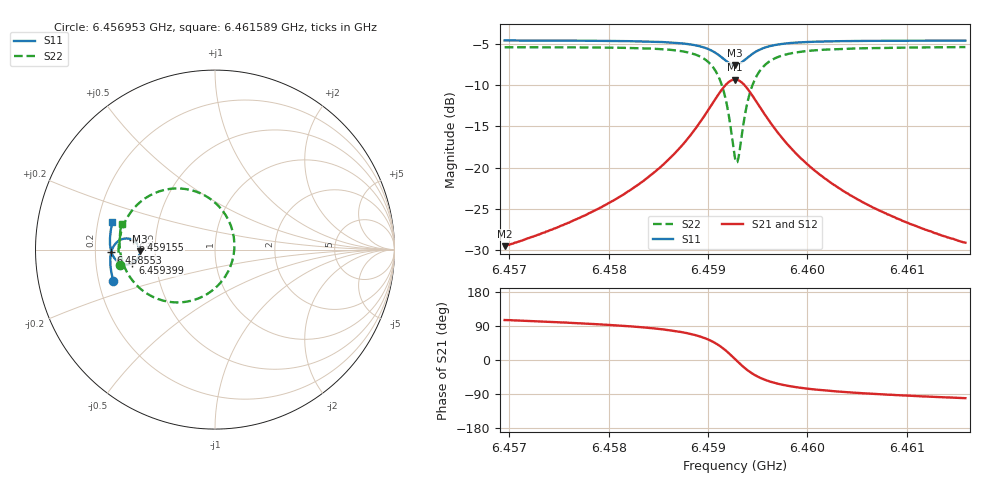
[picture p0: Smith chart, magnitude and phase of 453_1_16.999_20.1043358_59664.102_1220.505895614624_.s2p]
#  HZ  S  RI  R  50.00
! Rohde & Schwarz Vector Network Analyzer
! Rohde-Schwarz,ZNB20-2Port,1311601062101988,3.16
! Created: UTC 3/20/2024, 11:12:20 PM
! freq[Hz]  re:S11  im:S11  re:S21  im:S21  re:S12  im:S12  re:S22  im:S22
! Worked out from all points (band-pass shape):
!   401 points, 6.456953 GHz to 6.461589 GHz, reference 50 ohm
!   highest |S21| = -9.30 dB at 6.459271 GHz (marker M1); lowest = -29.5 dB at 6.456953 GHz (marker M2)
!   |S21| within 3 dB of the highest: 6.45904 GHz to 6.459503 GHz (463.6 kHz wide, 0.00718 % of centre)
!   lowest |S11| = -7.5 dB at 6.459271 GHz (marker M3), VSWR 2.45, Z = 20.4 - j0.519 ohm
!   |S11| at or under -10 dB: nowhere
!   |S22| runs from -19.4 to -5.4 dB; largest |S21 - S12| = 0.013
!   S11 on the Smith chart (normalised r, x): 6.456953 GHz: 0.26, -0.14; 6.458553 GHz: 0.27, -0.01; 6.459155 GHz: 0.37, +0.05; 6.459399 GHz: 0.37, -0.07; 6.461589 GHz: 0.26, +0.12
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6.4569532e9  -0.566 -0.174  -0.00887 0.0321  -0.00728 0.0321  -0.5313 -0.0869
6.4577297e9  -0.5806 -0.1062  -0.00568 0.05  -0.00313 0.0494  -0.5373 0.00342
6.4581469e9  -0.5835 -0.0647  -0.000117 0.0684  0.00304 0.0673  -0.5298 0.0686
6.4585062e9  -0.5799 -0.0221  0.0138 0.0978  0.0178 0.0952  -0.5044 0.1483
6.4585526e9  -0.5784 -0.0159  0.0172 0.1033  0.0212 0.1003  -0.4981 0.1614
6.4587612e9  -0.5663 0.016  0.0432 0.1348  0.0472 0.1301  -0.4496 0.2329
6.4589118e9  -0.5453 0.0422  0.0853 0.165  0.0888 0.1585  -0.3716 0.2968
6.4590625e9  -0.4995 0.0619  0.1766 0.184  0.1776 0.1766  -0.2048 0.3406
6.4591552e9  -0.4553 0.0518  0.2657 0.1532  0.2662 0.1473  -0.0394 0.2913
6.4592016e9  -0.4342 0.0333  0.3094 0.1108  0.3106 0.1055  0.043 0.2156
6.4592711e9  -0.4194 -0.0105  0.3424 0.0146  0.3461 0.00767  0.1078 0.0373
6.4592827e9  -0.4199 -0.0184  0.3425 -0.00302  0.3461 -0.0105  0.1076 0.00392
6.4593059e9  -0.4232 -0.034  0.3369 -0.0375  0.3407 -0.0465  0.0968 -0.0614
6.4593522e9  -0.4388 -0.0598  0.3087 -0.0969  0.3109 -0.1088  0.0398 -0.1738
6.4593986e9  -0.4606 -0.0758  0.2669 -0.1378  0.2662 -0.1509  -0.0445 -0.2482
6.4594913e9  -0.5037 -0.0826  0.1829 -0.1688  0.1768 -0.1803  -0.212 -0.2943
6.459642e9  -0.5471 -0.062  0.0956 -0.1552  0.0873 -0.1614  -0.3785 -0.2453
6.4598042e9  -0.5685 -0.0345  0.0511 -0.1277  0.0436 -0.1303  -0.4584 -0.1739
6.4600476e9  -0.5812 0.00103  0.0221 -0.0964  0.0164 -0.0969  -0.5062 -0.0918
6.4603721e9  -0.5854 0.0397  0.00689 -0.0711  0.00277 -0.0707  -0.5267 -0.0174
6.4608241e9  -0.5836 0.0851  -0.00153 -0.0515  -0.0043 -0.0506  -0.5316 0.0552
6.461589e9  -0.5712 0.1526  -0.00651 -0.0344  -0.00811 -0.0333  -0.5201 0.1448
